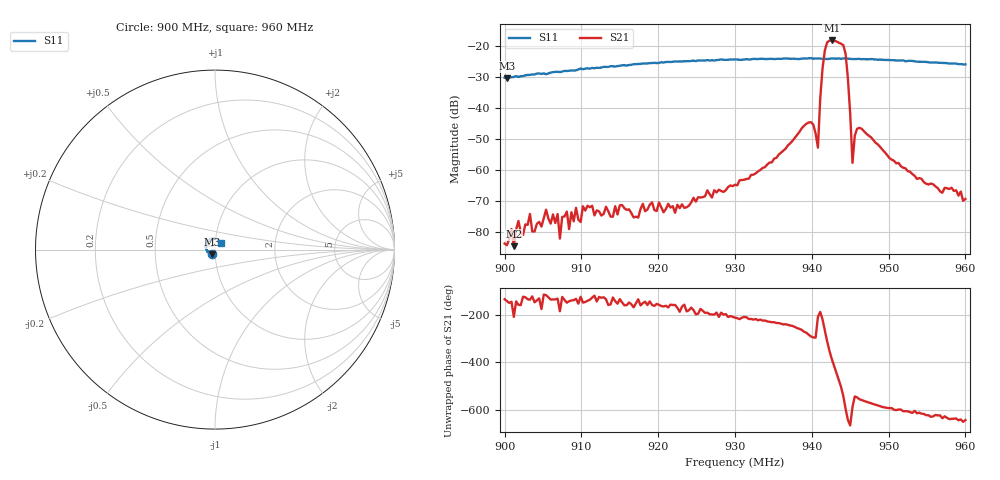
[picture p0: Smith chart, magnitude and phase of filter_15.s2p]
!File created by NanoVNA-F V2
# Hz S RI R 50
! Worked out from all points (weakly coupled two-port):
!   201 points, 900 MHz to 960 MHz, reference 50 ohm
!   highest |S21| = -18.20 dB at 942.6 MHz (marker M1); lowest = -84.6 dB at 901.2 MHz (marker M2)
!   lowest |S11| = -30.4 dB at 900.3 MHz (marker M3), VSWR 1.06, Z = 48.4 - j2.51 ohm
!   |S11| at or under -10 dB: start of sweep to end of sweep
!   S12 and S22 are empty: the file has one direction only
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9e8  -0.0145 -0.0272  -4.5e-05 -4.7e-05  0 0  0 0
9.003e8  -0.0157 -0.026  -4.8e-05 -3.8e-05  0 0  0 0
9.012e8  -0.0182 -0.026  -5.2e-05 2.8e-05  0 0  0 0
9.054e8  -0.0284 -0.0206  -0.000103 -0.000205  0 0  0 0
9.069e8  -0.034 -0.0179  -0.000128 -0.000147  0 0  0 0
9.072e8  -0.0335 -0.0178  -7.8e-05 6e-06  0 0  0 0
9.081e8  -0.0361 -0.0161  -0.000182 -0.000112  0 0  0 0
9.084e8  -0.0366 -0.0157  -8.8e-05 -6.8e-05  0 0  0 0
9.102e8  -0.0406 -0.0115  -0.00022 -0.000139  0 0  0 0
9.201e8  -0.0503 0.0174  -0.000276 -0.000116  0 0  0 0
9.3e8  -0.0423 0.0437  -0.000494 0.0003  0 0  0 0
9.402e8  -0.0163 0.0603  0.00224 0.00489  0 0  0 0
9.408e8  -0.0155 0.0608  -0.00204 0.00105  0 0  0 0
9.411e8  -0.0139 0.0612  -0.0143 0.00181  0 0  0 0
9.417e8  -0.0116 0.0612  -0.00678 0.0848  0 0  0 0
9.426e8  -0.00981 0.0622  0.1115 -0.0519  0 0  0 0
9.444e8  -0.00541 0.0629  -0.0429 0.0615  0 0  0 0
9.453e8  -0.000549 0.0616  -0.000891 0.00095  0 0  0 0
9.456e8  0.000729 0.0616  -0.0036 0.000186  0 0  0 0
9.462e8  0.00131 0.062  -0.00463 0.00123  0 0  0 0
9.501e8  0.0128 0.0578  -0.00096 0.00123  0 0  0 0
9.6e8  0.0342 0.0373  7.5e-05 0.000333  0 0  0 0
